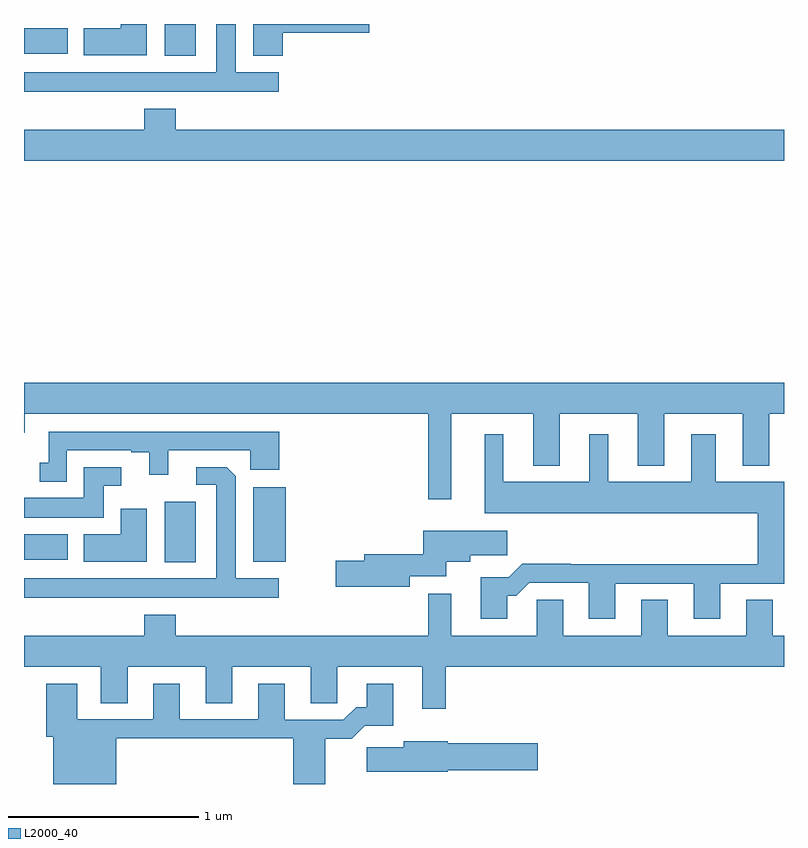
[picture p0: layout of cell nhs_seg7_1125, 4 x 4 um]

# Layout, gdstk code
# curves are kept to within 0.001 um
import gdstk
lib = gdstk.Library(unit=1e-6, precision=1e-09)
def R(c, l, rs):  # rectangles x0, y0, x1, y1
    for r in rs: c.add(gdstk.rectangle(r[:2], r[2:], *l))
def P(c, l, *ps):  # polygons
    for p in ps: c.add(gdstk.Polygon(p, *l))
L2000_40 = (2000, 40)

nhs_seg7_1125 = lib.new_cell('nhs_seg7_1125')
R(nhs_seg7_1125, L2000_40, [(191.741,1001.168,191.905,1001.485), (192.206,1001.171,192.377,1001.563), (191,1001.18,191.23,1001.314), (191.741,1003.832,191.905,1004), (191,1003.844,191.23,1003.978)])
P(nhs_seg7_1125, L2000_40, [(192.34,1003.747),(192.115,1003.747),(192.115,1004),(192.011,1004),(192.011,1003.747),(191,1003.747),(191,1003.643),(192.34,1003.643)],
  [(192.362,1003.955),(192.817,1003.955),(192.817,1004),(192.206,1004),(192.206,1003.832),(192.362,1003.832)],
  [(191.647,1004),(191.51,1004),(191.51,1003.978),(191.315,1003.978),(191.315,1003.835),(191.647,1003.835)],
  [(195,1003.444),(191.798,1003.444),(191.798,1003.555),(191.633,1003.555),(191.633,1003.444),(191,1003.444),(191,1003.28),(195,1003.28)],
  [(193.249,1001.948),(193.679,1001.948),(193.679,1001.675),(193.819,1001.675),(193.819,1001.948),(194.231,1001.948),(194.231,1001.675),(194.371,1001.675),(194.371,1001.948),(194.783,1001.948),(194.783,1001.675),(194.923,1001.675),(194.923,1001.948),(195,1001.948),(195,1002.112),(191,1002.112),(191,1001.849),(191.005,1001.849),(191.005,1001.948),(193.128,1001.948),(193.128,1001.499),(193.249,1001.499)],
  [(191.226,1001.757),(191.564,1001.757),(191.564,1001.745),(191.66,1001.745),(191.66,1001.628),(191.758,1001.628),(191.758,1001.757),(192.192,1001.757),(192.192,1001.654),(192.344,1001.654),(192.344,1001.853),(191.13,1001.853),(191.13,1001.691),(191.084,1001.691),(191.084,1001.591),(191.226,1001.591)],
  [(193.543,1000.991),(193.592,1000.991),(193.659,1001.058),(193.973,1001.058),(193.973,1000.869),(194.113,1000.869),(194.113,1001.055),(194.525,1001.055),(194.525,1000.869),(194.665,1000.869),(194.665,1001.055),(195,1001.055),(195,1001.59),(194.641,1001.59),(194.641,1001.842),(194.513,1001.842),(194.513,1001.59),(194.074,1001.59),(194.074,1001.842),(193.976,1001.842),(193.976,1001.59),(193.522,1001.59),(193.522,1001.842),(193.424,1001.842),(193.424,1001.426),(194.861,1001.426),(194.861,1001.156),(193.877,1001.156),(193.877,1001.159),(193.622,1001.159),(193.552,1001.089),(193.403,1001.089),(193.403,1000.869),(193.543,1000.869)],
  [(192.34,1001.083),(192.115,1001.083),(192.114,1001.621),(192.068,1001.667),(191.907,1001.667),(191.907,1001.574),(192.011,1001.574),(192.011,1001.083),(191,1001.083),(191,1000.979),(192.34,1000.979)],
  [(191.419,1001.571),(191.512,1001.571),(191.512,1001.667),(191.315,1001.667),(191.315,1001.506),(191,1001.506),(191,1001.402),(191.419,1001.402)],
  [(191.647,1001.449),(191.51,1001.449),(191.51,1001.314),(191.315,1001.314),(191.315,1001.171),(191.647,1001.171)],
  [(193.03,1001.094),(193.222,1001.094),(193.222,1001.171),(193.348,1001.171),(193.348,1001.203),(193.543,1001.203),(193.543,1001.332),(193.1,1001.332),(193.1,1001.21),(192.791,1001.21),(192.791,1001.174),(192.642,1001.174),(192.642,1001.039),(193.03,1001.039)],
  [(193.219,1000.616),(195,1000.616),(195,1000.78),(194.941,1000.78),(194.941,1000.97),(194.801,1000.97),(194.801,1000.78),(194.389,1000.78),(194.389,1000.97),(194.249,1000.97),(194.249,1000.78),(193.837,1000.78),(193.837,1000.97),(193.698,1000.97),(193.698,1000.78),(193.249,1000.78),(193.249,1001.002),(193.128,1001.002),(193.128,1000.78),(191.798,1000.78),(191.798,1000.891),(191.633,1000.891),(191.633,1000.78),(191,1000.78),(191,1000.616),(191.405,1000.616),(191.405,1000.426),(191.545,1000.426),(191.545,1000.616),(191.957,1000.616),(191.957,1000.426),(192.097,1000.426),(192.097,1000.616),(192.509,1000.616),(192.509,1000.426),(192.648,1000.426),(192.648,1000.616),(193.097,1000.616),(193.097,1000.395),(193.219,1000.395)],
  [(191.485,1000.24),(192.416,1000.24),(192.416,1000),(192.586,1000),(192.586,1000.238),(192.725,1000.238),(192.794,1000.307),(192.943,1000.307),(192.943,1000.528),(192.803,1000.528),(192.803,1000.405),(192.748,1000.405),(192.681,1000.338),(192.373,1000.338),(192.373,1000.528),(192.233,1000.528),(192.233,1000.341),(191.821,1000.341),(191.821,1000.528),(191.681,1000.528),(191.681,1000.341),(191.281,1000.341),(191.281,1000.528),(191.117,1000.528),(191.117,1000.248),(191.153,1000.248),(191.153,1000),(191.485,1000)],
  [(193.23,1000.073),(193.705,1000.073),(193.705,1000.215),(193.23,1000.215),(193.23,1000.225),(192.998,1000.225),(192.998,1000.193),(192.804,1000.193),(192.804,1000.064),(193.23,1000.064)])

lib.write_gds('nhs_seg7_1125.gds')
